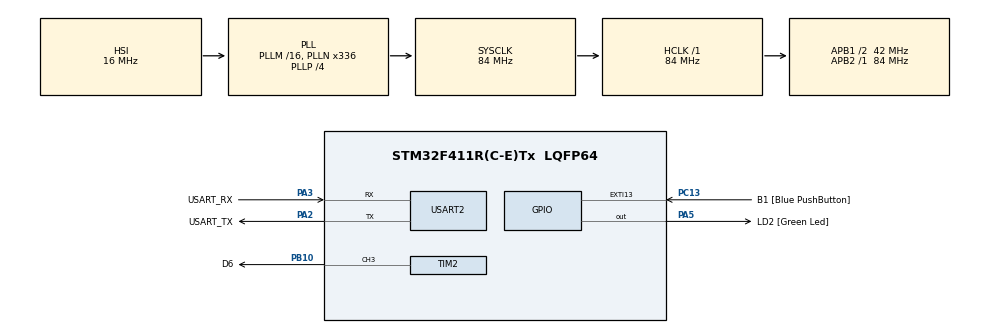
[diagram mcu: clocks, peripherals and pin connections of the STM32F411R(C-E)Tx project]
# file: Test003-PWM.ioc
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Mcu.Family=STM32F4
Mcu.Name=STM32F411R(C-E)Tx
Mcu.Package=LQFP64
NVIC.EXTI15_10_IRQn=true\:0\:0\:false\:false\:true\:true\:true\:true
NVIC.PriorityGroup=NVIC_PRIORITYGROUP_0
PA13.GPIO_Label=TMS
PA13.Mode=Serial_Wire
PA13.Signal=SYS_JTMS-SWDIO
PA14.GPIO_Label=TCK
PA14.Mode=Serial_Wire
PA14.Signal=SYS_JTCK-SWCLK
PA2.GPIO_Label=USART_TX
PA2.Mode=Asynchronous
PA2.Signal=USART2_TX
PA3.GPIO_Label=USART_RX
PA3.Mode=Asynchronous
PA3.Signal=USART2_RX
PA5.GPIO_Label=LD2 [Green Led]
PA5.Signal=GPIO_Output
PB10.GPIO_Label=D6
PB10.Signal=S_TIM2_CH3
PB3.GPIO_Label=SWO
PB3.Signal=SYS_JTDO-SWO
PC13-ANTI_TAMP.GPIO_Label=B1 [Blue PushButton]
PC13-ANTI_TAMP.GPIO_ModeDefaultEXTI=GPIO_MODE_IT_FALLING
PC13-ANTI_TAMP.Signal=GPXTI13
PC14-OSC32_IN.Mode=LSE-External-Oscillator
PC14-OSC32_IN.Signal=RCC_OSC32_IN
PC15-OSC32_OUT.Mode=LSE-External-Oscillator
PC15-OSC32_OUT.Signal=RCC_OSC32_OUT
PH0\ -\ OSC_IN.Mode=HSE-External-Clock-Source
PH0\ -\ OSC_IN.Signal=RCC_OSC_IN
PH1\ -\ OSC_OUT.Mode=HSE-External-Clock-Source
PH1\ -\ OSC_OUT.Signal=RCC_OSC_OUT
ProjectManager.HeapSize=0x200
ProjectManager.StackSize=0x400
ProjectManager.TargetToolchain=STM32CubeIDE
RCC.48MHZClocksFreq_Value=84000000
RCC.AHBFreq_Value=84000000
RCC.APB1CLKDivider=RCC_HCLK_DIV2
RCC.APB1Freq_Value=42000000
RCC.APB1TimFreq_Value=84000000
RCC.APB2Freq_Value=84000000
RCC.APB2TimFreq_Value=84000000
RCC.CortexFreq_Value=84000000
RCC.FLatency-AdvancedSettings=FLASH_LATENCY_2
RCC.HCLKFreq_Value=84000000
RCC.HSE_VALUE=8000000
RCC.HSI_VALUE=16000000
RCC.PLLN=336
RCC.PLLP=RCC_PLLP_DIV4
RCC.SYSCLKFreq_VALUE=84000000
RCC.SYSCLKSource=RCC_SYSCLKSOURCE_PLLCLK
RCC.VCOOutputFreq_Value=336000000
SH.S_TIM2_CH3.0=TIM2_CH3,PWM Generation3 CH3
TIM2.Channel-PWM\ Generation3\ CH3=TIM_CHANNEL_3
TIM2.Period=(1000)-1
TIM2.Prescaler=8400-1
USART2.VirtualMode=VM_ASYNC
board=NUCLEO-F411RE

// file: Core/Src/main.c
/* USER CODE BEGIN Header */
/**
  ******************************************************************************
  * @file           : main.c
  * @brief          : Main program body
  ******************************************************************************
  * @attention
  *
  * Copyright (c) 2024 STMicroelectronics.
  * All rights reserved.
  *
  * This software is licensed under terms that can be found in the LICENSE file
  * in the root directory of this software component.
  * If no LICENSE file comes with this software, it is provided AS-IS.
  *
  ******************************************************************************
  */
/* USER CODE END Header */
#include "main.h"

TIM_HandleTypeDef htim2;

UART_HandleTypeDef huart2;

void SystemClock_Config(void);
static void MX_GPIO_Init(void);
static void MX_USART2_UART_Init(void);
static void MX_TIM2_Init(void);

/* USER CODE BEGIN 0 */
int mux = 0;
void HAL_GPIO_EXTI_Callback(uint16_t GPIO_Pin)
{
	if(++mux > 20) mux = 1;
}

// DRMFSLC : DO   RE   MI FA   SL   LA   CI
//           C C♯ D D♯ E  F F♯ G G♯ A A♯ B
enum { DO=0,Do,RE,Re,MI,FA,Fa,SL,Sl,LA,La,CI };
double pitchF[] = {130.81,138.59,146.83,155.56,164.81,174.61,185.00,196.00,207.65,220.00,233.08,246.94};
int p3[12];
int arr = 1000, clk = 84000000;
void calcPitch()
{
	for(int i=0;i<12;i++)
	{
		p3[i] = clk / (pitchF[i] * arr);
	}
}
int Song[] = {SL,SL,MI,FA,SL,LA,LA,SL,
		SL,DO,MI,RE,DO,RE,MI,MI,RE,RE,DO,RE,DO,LA,LA,
		SL,SL,SL,MI,RE,DO,RE,RE,MI,DO,RE,RE,MI,SL,LA,DO,MI,RE,
		DO,RE,MI,MI,RE,RE,DO,RE,DO,LA,LA,SL,SL,SL,MI,RE,DO };
int Rythm[] = {4,4,8,8,4,4,4,2,4,4,4,8,8,1,
		4,4,4,4,4,8,8,4,4,4,4,4,8,8,1,4,4,4,4,4,4,4,4,4,4,4,8,8,1,
		4,4,4,4,4,8,8,4,4,4,4,4,8,8,1};
};
/* USER CODE END 0 */

int main(void)
{

  /* MCU Configuration--------------------------------------------------------*/

  /* Reset of all peripherals, Initializes the Flash interface and the Systick. */
  HAL_Init();

  /* Configure the system clock */
  SystemClock_Config();

  /* Initialize all configured peripherals */
  MX_GPIO_Init();
  MX_USART2_UART_Init();
  MX_TIM2_Init();
  /* USER CODE BEGIN 2 */

  ProgramStart("PWM");
  calcPitch();
  HAL_TIM_PWM_Start(&htim2, TIM_CHANNEL_3);
  htim2.Instance->CCR3 = 20;
  /* USER CODE END 2 */

  /* Infinite loop */
  /* USER CODE BEGIN WHILE */
  int sn = 2800;  // C3
  mux = 1;
  while (1)
  {
    /* USER CODE END WHILE */

    /* USER CODE BEGIN 3 */
	  htim2.Instance->PSC = sn / mux;
	  int f = 84000000/(htim2.Instance->PSC * htim2.Instance->ARR);
	  printf("Current Frequency : %d\r\n", f);
  }
  /* USER CODE END 3 */
}

void SystemClock_Config(void)
{
  RCC_OscInitTypeDef RCC_OscInitStruct = {0};
  RCC_ClkInitTypeDef RCC_ClkInitStruct = {0};

  /** Configure the main internal regulator output voltage
  */
  __HAL_RCC_PWR_CLK_ENABLE();
  __HAL_PWR_VOLTAGESCALING_CONFIG(PWR_REGULATOR_VOLTAGE_SCALE1);

  /** Initializes the RCC Oscillators according to the specified parameters
  * in the RCC_OscInitTypeDef structure.
  */
  RCC_OscInitStruct.OscillatorType = RCC_OSCILLATORTYPE_HSI;
  RCC_OscInitStruct.HSIState = RCC_HSI_ON;
  RCC_OscInitStruct.HSICalibrationValue = RCC_HSICALIBRATION_DEFAULT;
  RCC_OscInitStruct.PLL.PLLState = RCC_PLL_ON;
  RCC_OscInitStruct.PLL.PLLSource = RCC_PLLSOURCE_HSI;
  RCC_OscInitStruct.PLL.PLLM = 16;
  RCC_OscInitStruct.PLL.PLLN = 336;
  RCC_OscInitStruct.PLL.PLLP = RCC_PLLP_DIV4;
  RCC_OscInitStruct.PLL.PLLQ = 4;
  if (HAL_RCC_OscConfig(&RCC_OscInitStruct) != HAL_OK)
  {
    Error_Handler();
  }

  /** Initializes the CPU, AHB and APB buses clocks
  */
  RCC_ClkInitStruct.ClockType = RCC_CLOCKTYPE_HCLK|RCC_CLOCKTYPE_SYSCLK
                              |RCC_CLOCKTYPE_PCLK1|RCC_CLOCKTYPE_PCLK2;
  RCC_ClkInitStruct.SYSCLKSource = RCC_SYSCLKSOURCE_PLLCLK;
  RCC_ClkInitStruct.AHBCLKDivider = RCC_SYSCLK_DIV1;
  RCC_ClkInitStruct.APB1CLKDivider = RCC_HCLK_DIV2;
  RCC_ClkInitStruct.APB2CLKDivider = RCC_HCLK_DIV1;

  if (HAL_RCC_ClockConfig(&RCC_ClkInitStruct, FLASH_LATENCY_2) != HAL_OK)
  {
    Error_Handler();
  }
}

static void MX_TIM2_Init(void)
{

  TIM_MasterConfigTypeDef sMasterConfig = {0};
  TIM_OC_InitTypeDef sConfigOC = {0};

  htim2.Instance = TIM2;
  htim2.Init.Prescaler = 8400-1;
  htim2.Init.CounterMode = TIM_COUNTERMODE_UP;
  htim2.Init.Period = (1000)-1;
  htim2.Init.ClockDivision = TIM_CLOCKDIVISION_DIV1;
  htim2.Init.AutoReloadPreload = TIM_AUTORELOAD_PRELOAD_DISABLE;
  if (HAL_TIM_PWM_Init(&htim2) != HAL_OK)
  {
    Error_Handler();
  }
  sMasterConfig.MasterOutputTrigger = TIM_TRGO_RESET;
  sMasterConfig.MasterSlaveMode = TIM_MASTERSLAVEMODE_DISABLE;
  if (HAL_TIMEx_MasterConfigSynchronization(&htim2, &sMasterConfig) != HAL_OK)
  {
    Error_Handler();
  }
  sConfigOC.OCMode = TIM_OCMODE_PWM1;
  sConfigOC.Pulse = 0;
  sConfigOC.OCPolarity = TIM_OCPOLARITY_HIGH;
  sConfigOC.OCFastMode = TIM_OCFAST_DISABLE;
  if (HAL_TIM_PWM_ConfigChannel(&htim2, &sConfigOC, TIM_CHANNEL_3) != HAL_OK)
  {
    Error_Handler();
  }
  HAL_TIM_MspPostInit(&htim2);

}

static void MX_USART2_UART_Init(void)
{

  huart2.Instance = USART2;
  huart2.Init.BaudRate = 115200;
  huart2.Init.WordLength = UART_WORDLENGTH_8B;
  huart2.Init.StopBits = UART_STOPBITS_1;
  huart2.Init.Parity = UART_PARITY_NONE;
  huart2.Init.Mode = UART_MODE_TX_RX;
  huart2.Init.HwFlowCtl = UART_HWCONTROL_NONE;
  huart2.Init.OverSampling = UART_OVERSAMPLING_16;
  if (HAL_UART_Init(&huart2) != HAL_OK)
  {
    Error_Handler();
  }

}

static void MX_GPIO_Init(void)
{
  GPIO_InitTypeDef GPIO_InitStruct = {0};

  /* GPIO Ports Clock Enable */
  __HAL_RCC_GPIOC_CLK_ENABLE();
  __HAL_RCC_GPIOH_CLK_ENABLE();
  __HAL_RCC_GPIOA_CLK_ENABLE();
  __HAL_RCC_GPIOB_CLK_ENABLE();

  /*Configure GPIO pin Output Level */
  HAL_GPIO_WritePin(LD2_GPIO_Port, LD2_Pin, GPIO_PIN_RESET);

  /*Configure GPIO pin : B1_Pin */
  GPIO_InitStruct.Pin = B1_Pin;
  GPIO_InitStruct.Mode = GPIO_MODE_IT_FALLING;
  GPIO_InitStruct.Pull = GPIO_NOPULL;
  HAL_GPIO_Init(B1_GPIO_Port, &GPIO_InitStruct);

  /*Configure GPIO pin : LD2_Pin */
  GPIO_InitStruct.Pin = LD2_Pin;
  GPIO_InitStruct.Mode = GPIO_MODE_OUTPUT_PP;
  GPIO_InitStruct.Pull = GPIO_NOPULL;
  GPIO_InitStruct.Speed = GPIO_SPEED_FREQ_LOW;
  HAL_GPIO_Init(LD2_GPIO_Port, &GPIO_InitStruct);

  /* EXTI interrupt init*/
  HAL_NVIC_SetPriority(EXTI15_10_IRQn, 0, 0);
  HAL_NVIC_EnableIRQ(EXTI15_10_IRQn);

}

void Error_Handler(void)
{
  __disable_irq();
  while (1)
  {
  }
}
